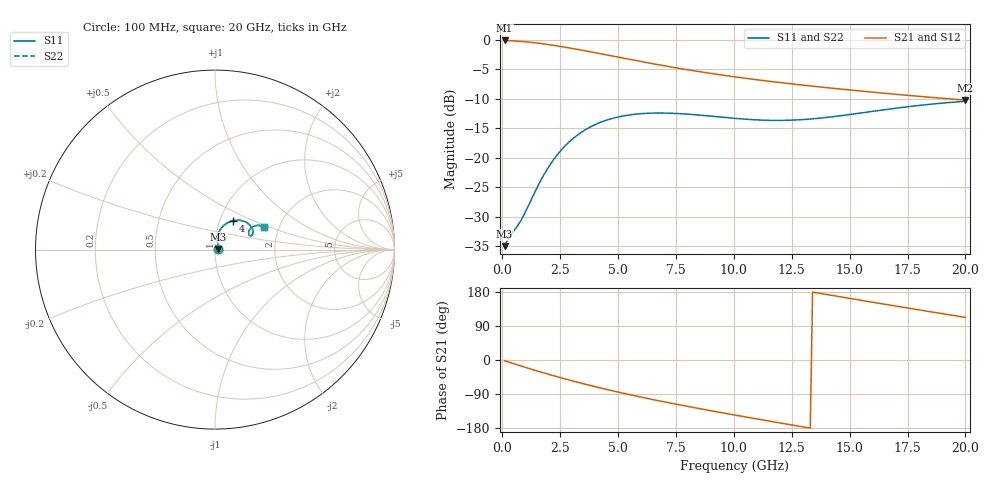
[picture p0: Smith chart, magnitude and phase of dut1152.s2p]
! Touchstone file exported from HFSS 2024.1.0
!  File:  C:/UserFiles/LocalFiles/RDL_TSV_Batchsim/temp_RDL_TSV_1152_1780117651.aedt
!  Generated:  01:27:18 PM May 30, 2026
!  Design:  RDL_TSV
!  Project:  temp_RDL_TSV_1152_1780117651
!  Setup:  Setup1
!  Solution:  Sweep
! Variables:
!  dtsv = 8.6um
!  hbump = 3um
!  htsv = 65.98um
!  ldown = 618.1um
!  lrdl = 506.64um
!  p = 40
!  p1 = 45.72um
!  rhole = 10um
!  subl = 3880.86um
!  t = 450um
!  tdown = 4.21um
!  trdl = 3.33um
!  viad = 10um
!  wdown = 18.63um
!  wrdl = 27.35um
!  xbump = 18um
# GHz S MA R 50.000000
! Terminal data exported
! Port[1] = TM1_1_T1
! Port[2] = TM1_4_T1
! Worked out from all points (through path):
!   200 points, 100 MHz to 20 GHz, reference 50 ohm
!   highest |S21| = -0.15 dB at 100 MHz (marker M1); lowest = -10.3 dB at 20 GHz (marker M2)
!   group delay of S21, straight-line fit = 32.7 ps
!   lowest |S11| = -35.0 dB at 100 MHz (marker M3), VSWR 1.04, Z = 51.8 + j0.408 ohm
!   |S11| at or under -10 dB: start of sweep to end of sweep
!   |S22| runs from -35.0 to -10.4 dB; largest |S21 - S12| = 1.1e-14
!   S11 on the Smith chart (normalised r, x): 100 MHz: 1.04, +0.01; 4 GHz: 1.16, +0.39; 20 GHz: 1.67, +0.46
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0.1  0.01776 12.8  0.9824 -2.1  0.9824 -2.1  0.01776 12.8
! Gamma 0 0 0 0
! Port Impedance 50 0 50 0
0.3  0.02118 28.2  0.9787 -6.0  0.9787 -6.0  0.02118 28.2
0.7  0.02711 50.1  0.9683 -13.8  0.9683 -13.8  0.0271 50.1
0.9  0.03168 60.3  0.9614 -17.6  0.9614 -17.6  0.03167 60.3
1.4  0.05071 75.8  0.9394 -27.0  0.9394 -27.0  0.05069 75.8
1.8  0.07172 79.0  0.9178 -34.2  0.9178 -34.2  0.07171 79.1
2.2  0.09516 77.9  0.8939 -41.2  0.8939 -41.2  0.09517 77.9
2.6  0.1191 74.5  0.8684 -48.0  0.8684 -48.0  0.1191 74.6
3  0.142 70.1  0.8419 -54.6  0.8419 -54.6  0.1421 70.2
3.5  0.168 64.0  0.8082 -62.6  0.8082 -62.6  0.1681 64.1
4  0.1899 57.9  0.7746 -70.3  0.7746 -70.3  0.1901 58.0
4.7  0.2133 49.8  0.7287 -80.5  0.7287 -80.5  0.2136 49.9
5.4  0.2284 42.5  0.6854 -90.1  0.6854 -90.1  0.2287 42.6
6.8  0.2386 31.1  0.6088 -108.1  0.6088 -108.1  0.2391 31.2
8.4  0.2301 23.3  0.5386 -127.0  0.5386 -127.0  0.2307 23.4
10.1  0.2144 21.1  0.4811 -145.9  0.4811 -145.9  0.2151 21.2
11.7  0.2065 23.6  0.4389 -163.0  0.4389 -163.0  0.2073 23.7
13.4  0.2129 28.1  0.4026 179.1  0.4026 179.1  0.2138 28.1
15.1  0.2329 30.9  0.3723 161.5  0.3723 161.5  0.2339 30.9
16.7  0.2573 30.8  0.3477 145.3  0.3477 145.3  0.2584 30.7
18.3  0.2806 28.6  0.3263 129.2  0.3263 129.2  0.2817 28.5
20  0.2997 24.9  0.3066 112.5  0.3066 112.5  0.301 24.9
